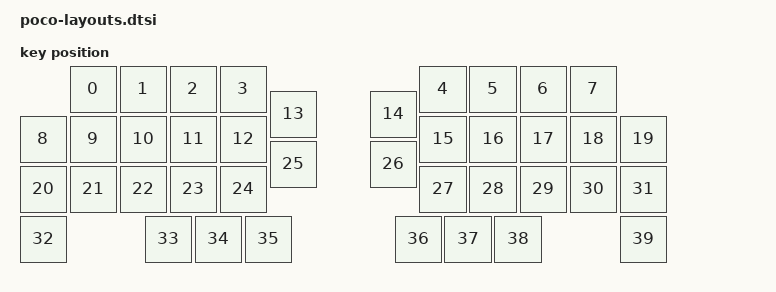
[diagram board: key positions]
#include <physical_layouts.dtsi>

/ {
    physical_layout0: physical_layout_0 {
        compatible = "zmk,physical-layout";
        display-name = "Default Layout";

        kscan = <&kscan0>;
        transform = <&matrix_transform0>;

        keys  //                     w   h    x    y     rot    rx    ry
            = <&key_physical_attrs 100 100  100    0       0     0     0>
            , <&key_physical_attrs 100 100  200    0       0     0     0>
            , <&key_physical_attrs 100 100  300    0       0     0     0>
            , <&key_physical_attrs 100 100  400    0       0     0     0>
            , <&key_physical_attrs 100 100  800    0       0     0     0>
            , <&key_physical_attrs 100 100  900    0       0     0     0>
            , <&key_physical_attrs 100 100 1000    0       0     0     0>
            , <&key_physical_attrs 100 100 1100    0       0     0     0>
            , <&key_physical_attrs 100 100    0  100       0     0     0>
            , <&key_physical_attrs 100 100  100  100       0     0     0>
            , <&key_physical_attrs 100 100  200  100       0     0     0>
            , <&key_physical_attrs 100 100  300  100       0     0     0>
            , <&key_physical_attrs 100 100  400  100       0     0     0>
            , <&key_physical_attrs 100 100  500   50       0     0     0>
            , <&key_physical_attrs 100 100  700   50       0     0     0>
            , <&key_physical_attrs 100 100  800  100       0     0     0>
            , <&key_physical_attrs 100 100  900  100       0     0     0>
            , <&key_physical_attrs 100 100 1000  100       0     0     0>
            , <&key_physical_attrs 100 100 1100  100       0     0     0>
            , <&key_physical_attrs 100 100 1200  100       0     0     0>
            , <&key_physical_attrs 100 100    0  200       0     0     0>
            , <&key_physical_attrs 100 100  100  200       0     0     0>
            , <&key_physical_attrs 100 100  200  200       0     0     0>
            , <&key_physical_attrs 100 100  300  200       0     0     0>
            , <&key_physical_attrs 100 100  400  200       0     0     0>
            , <&key_physical_attrs 100 100  500  150       0     0     0>
            , <&key_physical_attrs 100 100  700  150       0     0     0>
            , <&key_physical_attrs 100 100  800  200       0     0     0>
            , <&key_physical_attrs 100 100  900  200       0     0     0>
            , <&key_physical_attrs 100 100 1000  200       0     0     0>
            , <&key_physical_attrs 100 100 1100  200       0     0     0>
            , <&key_physical_attrs 100 100 1200  200       0     0     0>
            , <&key_physical_attrs 100 100    0  300       0     0     0>
            , <&key_physical_attrs 100 100  250  300       0     0     0>
            , <&key_physical_attrs 100 100  350  300       0     0     0>
            , <&key_physical_attrs 100 100  450  300       0     0     0>
            , <&key_physical_attrs 100 100  750  300       0     0     0>
            , <&key_physical_attrs 100 100  850  300       0     0     0>
            , <&key_physical_attrs 100 100  950  300       0     0     0>
            , <&key_physical_attrs 100 100 1200  300       0     0     0>
            ;
    };
};
